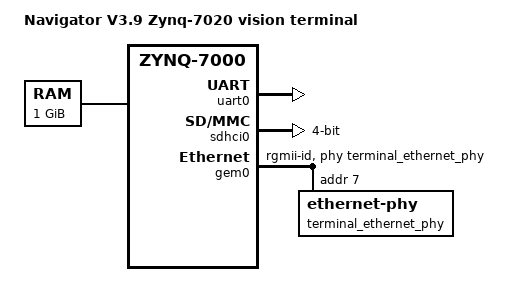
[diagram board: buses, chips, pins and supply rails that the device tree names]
// SPDX-License-Identifier: GPL-2.0
/dts-v1/;
#include "zynq-7000.dtsi"
#include "navigator-v3.9-usb.dtsi"
#include "vision-pl.dtsi"

/ {
    model = "Navigator V3.9 Zynq-7020 vision terminal";
    compatible = "cnn,navigator-v39-terminal", "xlnx,zynq-7000";
    aliases {
        serial0 = &uart0;
        ethernet0 = &gem0;
        mmc0 = &sdhci0;
    };
    chosen {
        stdout-path = "serial0:115200n8";
    };
    memory@0 {
        device_type = "memory";
        reg = <0x0 0x40000000>;
    };
};

&clkc {
    ps-clk-frequency = <33333333>;
    fclk-enable = <0x3>;
};

&uart0 { status = "okay"; };
&sdhci0 { status = "okay"; bus-width = <4>; disable-wp; no-1-8-v; };

&gem0 {
    status = "okay";
    phy-mode = "rgmii-id";
    phy-handle = <&terminal_ethernet_phy>;
    /* Physical board verified: YT8521 at MDIO address 7. */
    terminal_ethernet_phy: ethernet-phy@7 {
        reg = <7>;
        rx-internal-delay-ps = <1950>;
        tx-internal-delay-ps = <1950>;
    };
};
